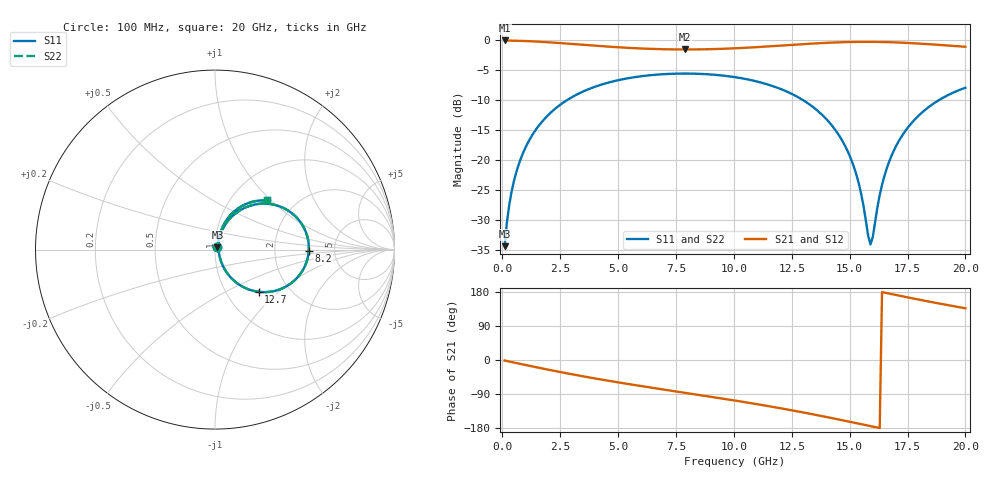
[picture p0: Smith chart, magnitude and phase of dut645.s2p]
! Touchstone file exported from HFSS 2026.1.0
!  File:  C:/ffzhzh/LocalFiles/Ansys_Project_Files/temp_train_TSV_RDL_645_1783128727_35180.aedt
!  Generated:  09:42:45 AM Jul  4, 2026
!  Design:  TSV_RDL
!  Project:  temp_train_TSV_RDL_645_1783128727_35180
! Variables:
!  h_bsmrdl = 3.67um
!  h_ox = 20um
!  h_rdl = 5um
!  h_sub = 62.01um
!  h_tmrdl = 5.14um
!  h_tsv = 62.01um
!  h_via = 3um
!  l_bsmrdl = 533.2um
!  l_sub = 3849.37um
!  l_tmrdl = 428.4um
!  m_sub = 200um
!  pitch = 51.85um
!  r_tsv = 9.79um
!  s_tmrdl = 10um
!  w_bsmrdl = 26.5um
!  w_sub = 500um
!  w_tmrdl = 18.89um
!  x_tsv_center1 = 437.845um
!  x_tsv_center2 = 997.545um
!  x_tsv_center3 = 1444.835um
!  x_tsv_center4 = 2004.535um
!  x_tsv_center5 = 2451.825um
!  x_tsv_center6 = 3011.525um
# GHz S MA R 50.000000
! Terminal data exported
! Port[1] = TM_RDL1_1_T1
! Port[2] = TM_RDL5_1_T1
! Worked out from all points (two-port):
!   200 points, 100 MHz to 20 GHz, reference 50 ohm
!   highest |S21| = -0.12 dB at 100 MHz (marker M1); lowest = -1.6 dB at 7.9 GHz (marker M2)
!   |S21| within 3 dB of the highest: start of sweep to end of sweep
!   lowest |S11| = -34.4 dB at 100 MHz (marker M3), VSWR 1.04, Z = 51.4 + j1.37 ohm
!   |S11| at or under -10 dB: start of sweep to 2.819 GHz; 12.96 GHz to 18.88 GHz (5.919 GHz wide, 37.2 % of centre)
!   |S22| runs from -34.4 to -5.6 dB; largest |S21 - S12| = 2.9e-14
!   S11 on the Smith chart (normalised r, x): 100 MHz: 1.03, +0.03; 8.2 GHz: 3.18, -0.08; 12.7 GHz: 1.41, -0.75; 20 GHz: 1.45, +0.94
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0.1  0.01907 44.3  0.9866 -1.4  0.9866 -1.4  0.01907 44.3
! Gamma 0 0 0 0
! Port Impedance 50 0 50 0
0.3  0.04204 65.6  0.9846 -4.0  0.9846 -4.0  0.04204 65.6
0.5  0.06615 69.9  0.9825 -6.7  0.9825 -6.7  0.06615 69.9
1.1  0.138 68.5  0.9737 -14.4  0.9737 -14.4  0.138 68.5
2.1  0.2481 58.7  0.95 -26.9  0.95 -26.9  0.2481 58.7
3.5  0.3713 43.7  0.9076 -43.2  0.9076 -43.2  0.3713 43.7
6.8  0.5144 11.6  0.835 -76.4  0.835 -76.4  0.5144 11.6
7.9  0.523 1.7  0.8297 -86.6  0.8297 -86.6  0.523 1.7
8.2  0.5223 -1.0  0.83 -89.4  0.83 -89.4  0.5223 -1.0
10.1  0.4862 -18.3  0.8497 -107.5  0.8497 -107.5  0.4862 -18.3
12.7  0.3383 -44.0  0.9116 -135.0  0.9116 -135.0  0.3382 -44.0
13.4  0.277 -51.3  0.9294 -143.1  0.9294 -143.1  0.277 -51.3
14.3  0.1861 -60.0  0.9483 -154.1  0.9483 -154.1  0.1861 -59.9
15  0.1084 -64.2  0.9577 -162.9  0.9577 -162.9  0.1084 -64.1
15.4  0.06304 -61.4  0.9605 -168.0  0.9605 -168.0  0.06307 -61.3
15.9  0.01971 2.4  0.9609 -174.4  0.9609 -174.4  0.01995 2.5
16  0.02272 32.7  0.9606 -175.7  0.9606 -175.7  0.02295 32.5
16.3  0.05083 66.3  0.9589 -179.6  0.9589 -179.6  0.05096 66.0
16.7  0.09567 72.2  0.9547 175.4  0.9547 175.4  0.09576 72.0
17.3  0.1625 69.8  0.945 167.8  0.945 167.8  0.1625 69.7
18  0.2354 63.6  0.9294 159.2  0.9294 159.2  0.2354 63.5
20  0.3984 43.4  0.8742 136.5  0.8742 136.5  0.3984 43.4
